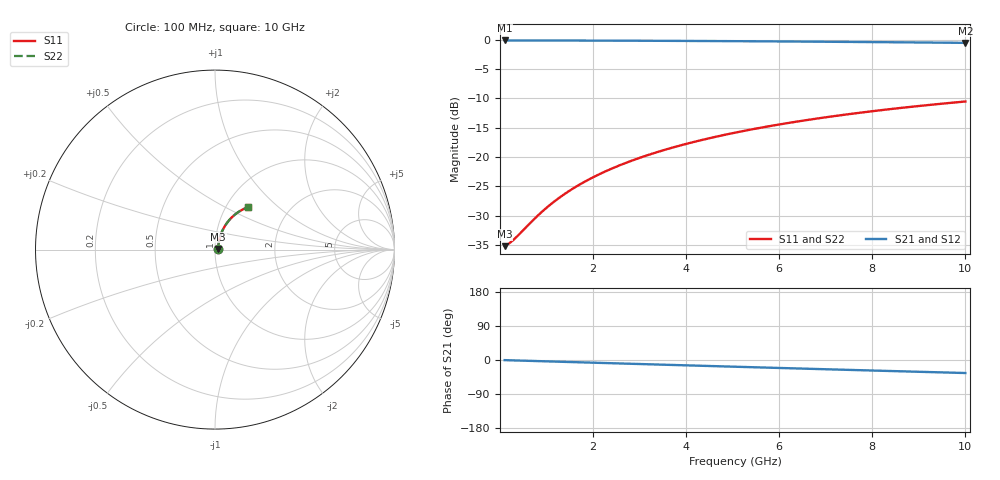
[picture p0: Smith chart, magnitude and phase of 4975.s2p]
# Hz S RI R 50.00
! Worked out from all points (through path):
!   100 points, 100 MHz to 10 GHz, reference 50 ohm
!   highest |S21| = -0.15 dB at 100 MHz (marker M1); lowest = -0.6 dB at 10 GHz (marker M2)
!   group delay of S21, straight-line fit = 9.56 ps
!   lowest |S11| = -35.2 dB at 100 MHz (marker M3), VSWR 1.04, Z = 51.7 + j0.326 ohm
!   |S11| at or under -10 dB: start of sweep to end of sweep
!   |S22| runs from -35.2 to -10.5 dB; largest |S21 - S12| = 0
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1e8  0.0171 0.00315  0.9829 -0.00608  0.9829 -0.00608  0.0171 0.00315
2e8  0.0173 0.0063  0.9827 -0.0122  0.9827 -0.0122  0.0173 0.0063
3e8  0.0175 0.00944  0.9825 -0.0182  0.9825 -0.0182  0.0175 0.00944
8e8  0.0188 0.0251  0.9809 -0.0485  0.9809 -0.0485  0.0188 0.0251
9e8  0.0192 0.0282  0.9804 -0.0546  0.9804 -0.0546  0.0192 0.0282
1.1e9  0.02 0.0345  0.9794 -0.0667  0.9794 -0.0667  0.02 0.0345
1.4e9  0.0216 0.0438  0.9775 -0.0848  0.9775 -0.0848  0.0216 0.0438
1.6e9  0.0228 0.0499  0.9761 -0.0968  0.9761 -0.0968  0.0228 0.0499
1.8e9  0.0241 0.056  0.9744 -0.1088  0.9744 -0.1088  0.0241 0.056
2.1e9  0.0265 0.0651  0.9716 -0.1267  0.9716 -0.1267  0.0265 0.0651
2.5e9  0.03 0.0771  0.9672 -0.1504  0.9672 -0.1504  0.03 0.0771
2.9e9  0.0342 0.0889  0.9621 -0.1738  0.9621 -0.1738  0.0342 0.0889
3.4e9  0.0402 0.1032  0.9547 -0.2029  0.9547 -0.2029  0.0402 0.1032
3.8e9  0.0456 0.1144  0.948 -0.2258  0.948 -0.2258  0.0456 0.1144
4.2e9  0.0515 0.1252  0.9407 -0.2483  0.9407 -0.2483  0.0515 0.1252
4.6e9  0.058 0.1358  0.9327 -0.2706  0.9327 -0.2706  0.058 0.1358
5.1e9  0.0667 0.1484  0.9219 -0.2979  0.9219 -0.2979  0.0667 0.1484
5.9e9  0.082 0.1673  0.9026 -0.3404  0.9026 -0.3404  0.082 0.1673
6.7e9  0.099 0.1846  0.8812 -0.3811  0.8812 -0.3811  0.099 0.1846
7.5e9  0.1173 0.2  0.8578 -0.4201  0.8578 -0.4201  0.1173 0.2
8.4e9  0.1394 0.215  0.8293 -0.4616  0.8293 -0.4616  0.1394 0.215
1e10  0.1812 0.2353  0.7741 -0.5291  0.7741 -0.5291  0.1812 0.2353
